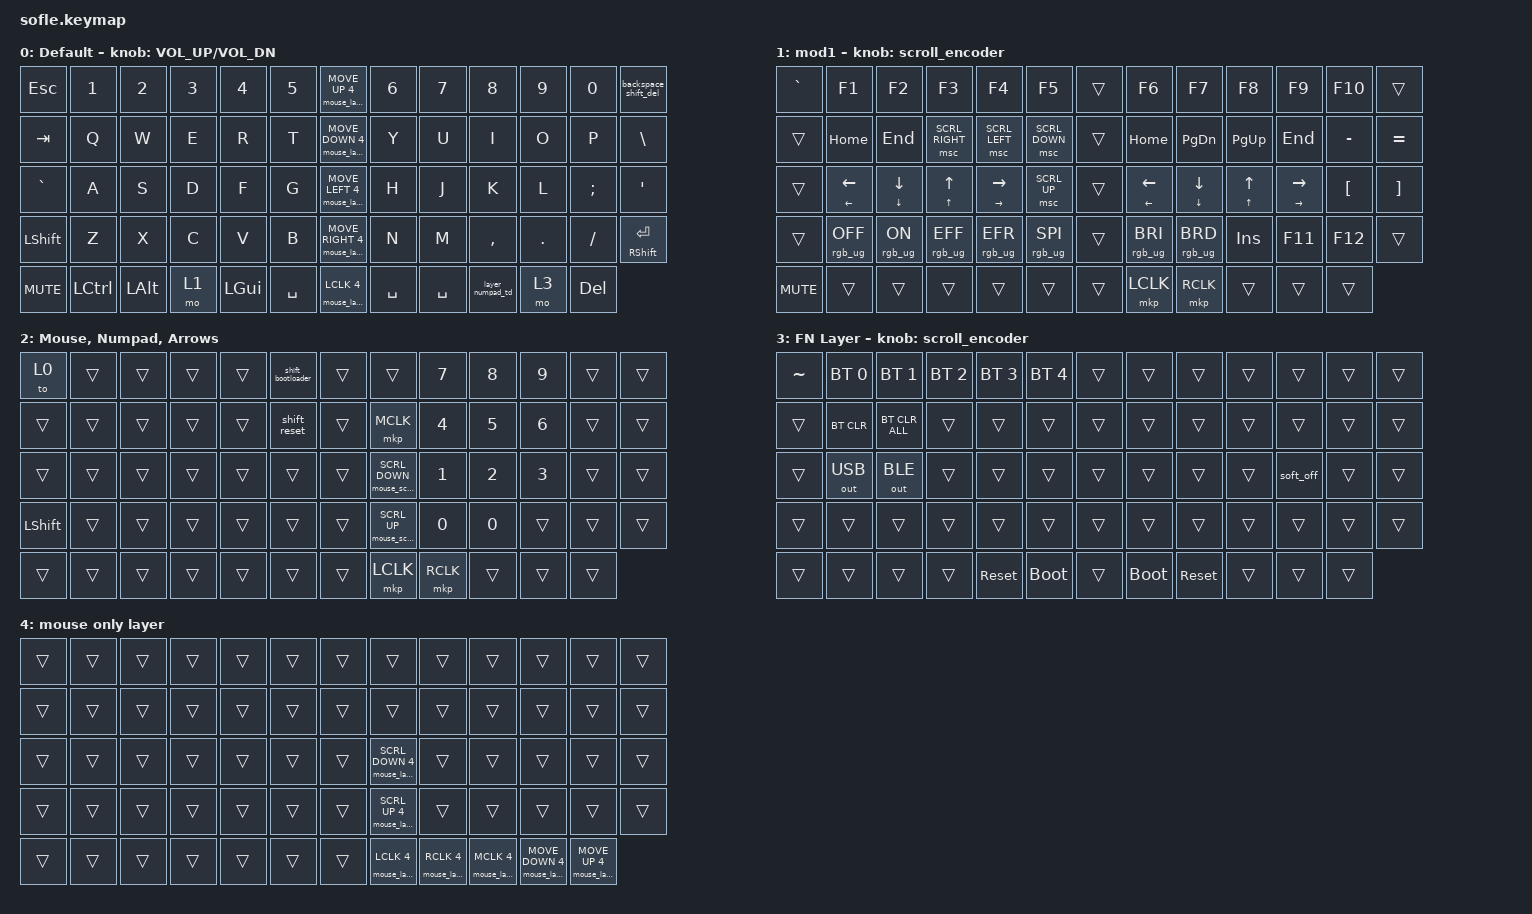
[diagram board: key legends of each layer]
#include <behaviors/mouse_keys.dtsi>
#include <behaviors.dtsi>
#include <dt-bindings/zmk/bt.h>
#include <dt-bindings/zmk/keys.h>
#include <dt-bindings/zmk/mouse.h>
#include <dt-bindings/zmk/outputs.h>
#include <dt-bindings/zmk/rgb.h>

#define ZMK_MOUSE_DEFAULT_MOVE_VAL 2400  // 600
#define ZMK_MOUSE_DEFAULT_SCRL_VAL 20    // 10
#define U_MS_U &mmv MOVE_UP
#define U_MS_D &mmv MOVE_DOWN
#define U_MS_L &mmv MOVE_LEFT
#define U_MS_R &mmv MOVE_RIGHT
#define U_WH_U &msc SCRL_UP
#define U_WH_D &msc SCRL_DOWN
#define U_WH_L &msc SCRL_LEFT
#define U_WH_R &msc SCRL_RIGHT

&mmv {
    acceleration-exponent = <1>;      // 1
    time-to-max-speed-ms = <1000>;    // 40
    delay-ms = <0>;                   // 0
};

&msc {
    acceleration-exponent = <1>;      // 0
    time-to-max-speed-ms = <40>;      // 500
    delay-ms = <0>;                   //   10
};

&soft_off {
};

/ {
    behaviors {
        mmv {
            acceleration-exponent = <2>;      // 1
            time-to-max-speed-ms = <2000>;    // 40
            delay-ms = <500>;                   // 0
        };

        msc {
            acceleration-exponent = <2>;      // 0
            time-to-max-speed-ms = <400>;      // 500
            delay-ms = <0>;                   //   10
        };
    };

    scroll_encoder: scroll_encoder {
        compatible = "zmk,behavior-sensor-rotate";
        #sensor-binding-cells = <0>;
        bindings = <&msc SCRL_DOWN>, <&msc SCRL_UP>;

        tap-ms = <30>;
    };

    layer_numpad_td: layer_numpad_td {
        compatible = "zmk,behavior-tap-dance";
        label = "LAYER_NUMPAD_TD";
        #binding-cells = <0>;
        bindings = <&hold_tap_layer 2 2>, <&tog 2>;
    };

    hold_tap_layer: hold_tap_layer {
        compatible = "zmk,behavior-hold-tap";
        label = "HOLD_TAP_LAYER";
        bindings = <&mo>, <&sl>;

        #binding-cells = <2>;
        tapping-term-ms = <200>;
    };

    shift_bootloader: shift_bootloader {
        compatible = "zmk,behavior-mod-morph";
        label = "SHIFT_BOOTLOADER";
        bindings = <&trans>, <&bootloader>;

        #binding-cells = <0>;
        mods = <(MOD_LSFT|MOD_RSFT)>;
    };

    shift_reset: shift_reset {
        compatible = "zmk,behavior-mod-morph";
        label = "SHIFT_RESET";
        bindings = <&trans>, <&sys_reset>;

        #binding-cells = <0>;
        mods = <(MOD_LSFT|MOD_RSFT)>;
    };

    backspace_shift_del: backspace_shift_del {
        compatible = "zmk,behavior-mod-morph";
        label = "BACKSPACE_SHIFT_DEL";
        bindings = <&kp BACKSPACE>, <&kp DELETE>;

        #binding-cells = <0>;
        mods = <(MOD_RSFT|MOD_LSFT)>;
    };

    hold_tap_macro_5_8: hold_tap_macro_5_8 {
        compatible = "zmk,behavior-hold-tap";
        label = "HOLD_TAP_MACRO_5_8";
        bindings = <&macro_8>, <&macro_5>;

        #binding-cells = <2>;
        tapping-term-ms = <200>;
    };

    hold_tap_mouse_scroll: hold_tap_mouse_scroll {
        compatible = "zmk,behavior-hold-tap";
        label = "HOLD_TAP_MOUSE_SCROLL";
        bindings = <&msc>, <&mouse_scroll_fast>;

        #binding-cells = <2>;
        tapping-term-ms = <200>;
    };

    hold_tap_macro_1_8: hold_tap_macro_1_8 {
        compatible = "zmk,behavior-hold-tap";
        label = "HOLD_TAP_MACRO_1_8";
        bindings = <&macro_8>, <&kp>;

        #binding-cells = <2>;
        tapping-term-ms = <200>;
    };

    macros {
        macro_5: macro_5 {
            compatible = "zmk,behavior-macro-one-param";
            #binding-cells = <1>;
            bindings = <&macro_param_1to1 &kp MACRO_PLACEHOLDER &macro_param_1to1 &kp MACRO_PLACEHOLDER &macro_param_1to1 &kp MACRO_PLACEHOLDER &macro_param_1to1 &kp MACRO_PLACEHOLDER &macro_param_1to1 &kp MACRO_PLACEHOLDER>;
        };

        mouse_layer_on_move: mouse_layer_on_move {
            compatible = "zmk,behavior-macro-two-param";
            #binding-cells = <2>;
            bindings =
                <&macro_press>,
                <&macro_param_1to1 &mmv MACRO_PLACEHOLDER &macro_param_2to1 &sl MACRO_PLACEHOLDER>,
                <&macro_pause_for_release>,
                <&macro_release>,
                <&macro_param_1to1 &mmv MACRO_PLACEHOLDER &macro_param_2to1 &sl MACRO_PLACEHOLDER>;

            label = "MOUSE_LAYER_ON_MOVE";
        };

        mouse_layer_on_mouse_press: mouse_layer_on_mouse_press {
            compatible = "zmk,behavior-macro-two-param";
            #binding-cells = <2>;
            bindings =
                <&macro_press>,
                <&macro_param_1to1 &mkp MACRO_PLACEHOLDER &macro_param_2to1 &sl MACRO_PLACEHOLDER>,
                <&macro_pause_for_release>,
                <&macro_release>,
                <&macro_param_1to1 &mkp MACRO_PLACEHOLDER &macro_param_2to1 &sl MACRO_PLACEHOLDER>;

            label = "MOUSE_LAYER_ON_MOUSE_PRESS";
        };

        mouse_layer_on_mouse_scroll: mouse_layer_on_mouse_scroll {
            compatible = "zmk,behavior-macro-two-param";
            #binding-cells = <2>;
            bindings =
                <&macro_press>,
                <&macro_param_1to1 &msc MACRO_PLACEHOLDER &macro_param_2to1 &sl MACRO_PLACEHOLDER>,
                <&macro_pause_for_release>,
                <&macro_release>,
                <&macro_param_1to1 &msc MACRO_PLACEHOLDER &macro_param_2to1 &sl MACRO_PLACEHOLDER>;

            label = "MOUSE_LAYER_ON_MOUSE_SCROLL";
        };

        mouse_scroll_fast: mouse_scroll_macro_5 {
            compatible = "zmk,behavior-macro-one-param";
            #binding-cells = <1>;
            bindings =
                <&macro_press>,
                <&macro_param_1to1 &msc MACRO_PLACEHOLDER>,
                <&macro_pause_for_release>,
                <&macro_release>,
                <&macro_param_1to1 &msc MACRO_PLACEHOLDER>;

            label = "MOUSE_SCROLL_MACRO_5";
        };

        macro_8: macro_15 {
            compatible = "zmk,behavior-macro-one-param";
            #binding-cells = <1>;
            bindings = <&macro_param_1to1 &kp MACRO_PLACEHOLDER &macro_param_1to1 &kp MACRO_PLACEHOLDER &macro_param_1to1 &kp MACRO_PLACEHOLDER &macro_param_1to1 &kp MACRO_PLACEHOLDER &macro_param_1to1 &kp MACRO_PLACEHOLDER &macro_param_1to1 &kp MACRO_PLACEHOLDER &macro_param_1to1 &kp MACRO_PLACEHOLDER &macro_param_1to1 &kp MACRO_PLACEHOLDER>;
            label = "MACRO_15";
        };
    };

    keymap {
        compatible = "zmk,keymap";

        layer0 {
            bindings = <
&kp ESC     &kp N1     &kp N2        &kp N3  &kp N4        &kp N5       &mouse_layer_on_move MOVE_UP 4      &kp N6     &kp N7     &kp N8            &kp N9   &kp N0      &backspace_shift_del
&kp TAB     &kp Q      &kp W         &kp E   &kp R         &kp T        &mouse_layer_on_move MOVE_DOWN 4    &kp Y      &kp U      &kp I             &kp O    &kp P       &kp BSLH
&kp GRAVE   &kp A      &kp S         &kp D   &kp F         &kp G        &mouse_layer_on_move MOVE_LEFT 4    &kp H      &kp J      &kp K             &kp L    &kp SEMI    &kp APOS
&kp LSHFT   &kp Z      &kp X         &kp C   &kp V         &kp B        &mouse_layer_on_move MOVE_RIGHT 4   &kp N      &kp M      &kp COMMA         &kp DOT  &kp FSLH    &mt RIGHT_SHIFT ENTER
&kp C_MUTE  &kp LCTRL  &kp LEFT_ALT  &mo 1   &kp LEFT_GUI  &kp SPACE    &mouse_layer_on_mouse_press LCLK 4  &kp SPACE  &kp SPACE  &layer_numpad_td  &mo 3    &kp DELETE
            >;

            sensor-bindings = <&inc_dec_kp C_VOLUME_UP C_VOL_DN>;
            display-name = "Default";
        };

        arrows_alt {
            bindings = <
&kp GRAVE   &kp F1                         &kp F2                         &kp F3                                 &kp F4                           &kp F5             &trans  &kp F6                         &kp F7                         &kp F8                           &kp F9                           &kp F10           &trans
&trans      &kp HOME                       &kp END                        &msc SCRL_RIGHT                        &msc SCRL_LEFT                   &msc SCRL_DOWN     &trans  &kp HOME                       &kp PAGE_DOWN                  &kp PAGE_UP                      &kp END                          &kp MINUS         &kp EQUAL
&trans      &hold_tap_macro_5_8 LEFT LEFT  &hold_tap_macro_5_8 DOWN DOWN  &hold_tap_macro_5_8 UP_ARROW UP_ARROW  &hold_tap_macro_5_8 RIGHT RIGHT  &msc SCRL_UP       &trans  &hold_tap_macro_1_8 LEFT LEFT  &hold_tap_macro_1_8 DOWN DOWN  &hold_tap_macro_1_8 UP UP_ARROW  &hold_tap_macro_1_8 RIGHT RIGHT  &kp LEFT_BRACKET  &kp RIGHT_BRACKET
&trans      &rgb_ug RGB_OFF                &rgb_ug RGB_ON                 &rgb_ug RGB_EFF                        &rgb_ug RGB_EFR                  &rgb_ug RGB_SPI    &trans  &rgb_ug RGB_BRI                &rgb_ug RGB_BRD                &kp INSERT                       &kp F11                          &kp F12           &trans
&kp C_MUTE  &trans                         &trans                         &trans                                 &trans                           &trans             &trans  &mkp LCLK                      &mkp RCLK                      &trans                           &trans                           &trans
            >;

            display-name = "mod1";
            sensor-bindings = <&scroll_encoder>;
        };

        numpad_alt2 {
            bindings = <
&to 0           &trans  &trans  &trans  &trans  &shift_bootloader    &trans  &trans                        &kp N7        &kp N8        &kp N9        &trans  &trans
&trans          &trans  &trans  &trans  &trans  &shift_reset         &trans  &mkp MCLK                     &kp NUMBER_4  &kp N5        &kp NUMBER_6  &trans  &trans
&trans          &trans  &trans  &trans  &trans  &trans               &trans  &mouse_scroll_fast SCRL_DOWN  &kp NUMBER_1  &kp NUMBER_2  &kp NUMBER_3  &trans  &trans
&kp LEFT_SHIFT  &trans  &trans  &trans  &trans  &trans               &trans  &mouse_scroll_fast SCRL_UP    &kp N0        &kp N0        &trans        &trans  &trans
&trans          &trans  &trans  &trans  &trans  &trans               &trans  &mkp LCLK                     &mkp RCLK     &trans        &trans        &trans
            >;

            label = "Mouse, Numpad, Arrows";
        };

        fn_layer {
            bindings = <
&kp TILDE  &bt BT_SEL 0  &bt BT_SEL 1    &bt BT_SEL 2  &bt BT_SEL 3  &bt BT_SEL 4    &trans  &trans       &trans      &trans  &trans     &trans  &trans
&trans     &bt BT_CLR    &bt BT_CLR_ALL  &trans        &trans        &trans          &trans  &trans       &trans      &trans  &trans     &trans  &trans
&trans     &out OUT_USB  &out OUT_BLE    &trans        &trans        &trans          &trans  &trans       &trans      &trans  &soft_off  &trans  &trans
&trans     &trans        &trans          &trans        &trans        &trans          &trans  &trans       &trans      &trans  &trans     &trans  &trans
&trans     &trans        &trans          &trans        &sys_reset    &bootloader     &trans  &bootloader  &sys_reset  &trans  &trans     &trans
            >;

            sensor-bindings = <&scroll_encoder>;
            label = "FN Layer";
        };

        temp_mouse_layer {
            bindings = <
&trans  &trans  &trans  &trans  &trans  &trans    &trans  &trans                                    &trans                              &trans                              &trans                                    &trans                                  &trans
&trans  &trans  &trans  &trans  &trans  &trans    &trans  &trans                                    &trans                              &trans                              &trans                                    &trans                                  &trans
&trans  &trans  &trans  &trans  &trans  &trans    &trans  &mouse_layer_on_mouse_scroll SCRL_DOWN 4  &trans                              &trans                              &trans                                    &trans                                  &trans
&trans  &trans  &trans  &trans  &trans  &trans    &trans  &mouse_layer_on_mouse_scroll SCRL_UP 4    &trans                              &trans                              &trans                                    &trans                                  &trans
&trans  &trans  &trans  &trans  &trans  &trans    &trans  &mouse_layer_on_mouse_press LCLK 4        &mouse_layer_on_mouse_press RCLK 4  &mouse_layer_on_mouse_press MCLK 4  &mouse_layer_on_mouse_scroll MOVE_DOWN 4  &mouse_layer_on_mouse_scroll MOVE_UP 4
            >;

            label = " mouse only layer";
        };
    };
};
